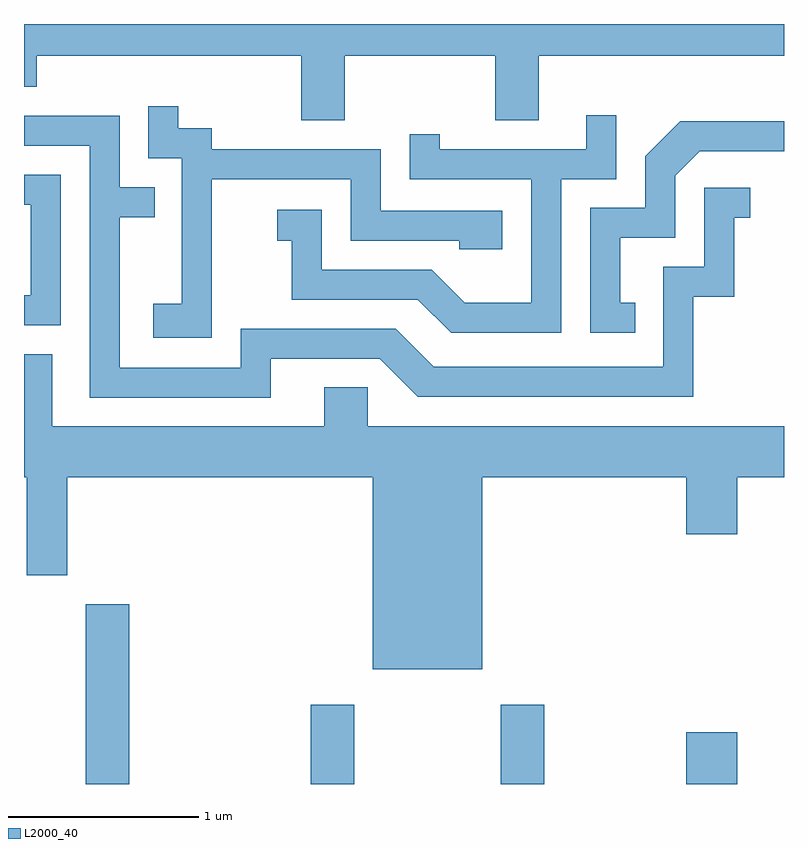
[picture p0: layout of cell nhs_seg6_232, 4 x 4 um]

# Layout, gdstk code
import gdstk
lib = gdstk.Library(unit=1e-6, precision=1e-09)
def R(c, l, rs):  # rectangles x0, y0, x1, y1
    for r in rs: c.add(gdstk.rectangle(r[:2], r[2:], *l))
def P(c, l, *ps):  # polygons
    for p in ps: c.add(gdstk.Polygon(p, *l))
L2000_40 = (2000, 40)

nhs_seg6_232 = lib.new_cell('nhs_seg6_232')
R(nhs_seg6_232, L2000_40, [(191.936,1586.162,192.164,1587.109), (193.121,1586.162,193.349,1586.579), (194.121,1586.162,194.349,1586.579), (195.096,1586.162,195.364,1586.434)])
P(nhs_seg6_232, L2000_40, [(193.299,1589.996),(194.091,1589.996),(194.091,1589.656),(194.319,1589.656),(194.319,1589.996),(195.611,1589.996),(195.611,1590.162),(191.611,1590.162),(191.611,1589.831),(191.679,1589.831),(191.679,1589.996),(193.071,1589.996),(193.071,1589.656),(193.299,1589.656)],
  [(192.599,1589.346),(193.331,1589.346),(193.331,1589.021),(193.901,1589.021),(193.901,1588.976),(194.129,1588.976),(194.129,1589.179),(193.489,1589.179),(193.489,1589.504),(192.599,1589.504),(192.599,1589.614),(192.424,1589.614),(192.424,1589.728),(192.266,1589.728),(192.266,1589.456),(192.441,1589.456),(192.441,1588.689),(192.291,1588.689),(192.291,1588.511),(192.599,1588.511)],
  [(194.439,1589.346),(194.729,1589.346),(194.729,1589.683),(194.571,1589.683),(194.571,1589.504),(193.799,1589.504),(193.799,1589.583),(193.641,1589.583),(193.641,1589.346),(194.281,1589.346),(194.281,1588.694),(193.932,1588.694),(193.757,1588.869),(193.179,1588.869),(193.179,1589.184),(192.943,1589.184),(192.943,1589.021),(193.021,1589.021),(193.021,1588.711),(193.684,1588.711),(193.859,1588.536),(194.439,1588.536)],
  [(192.909,1588.401),(193.484,1588.401),(193.684,1588.201),(195.134,1588.201),(195.134,1588.726),(195.349,1588.726),(195.349,1589.141),(195.433,1589.141),(195.433,1589.299),(195.191,1589.299),(195.191,1588.884),(194.976,1588.884),(194.976,1588.359),(193.767,1588.359),(193.567,1588.559),(192.751,1588.559),(192.751,1588.354),(192.114,1588.354),(192.114,1589.146),(192.298,1589.146),(192.298,1589.304),(192.114,1589.304),(192.114,1589.679),(191.611,1589.679),(191.611,1589.521),(191.956,1589.521),(191.956,1588.196),(192.909,1588.196)],
  [(194.828,1588.694),(194.749,1588.694),(194.749,1589.036),(195.039,1589.036),(195.039,1589.364),(195.167,1589.491),(195.611,1589.491),(195.611,1589.649),(195.064,1589.649),(194.881,1589.467),(194.881,1589.194),(194.591,1589.194),(194.591,1588.536),(194.828,1588.536)],
  [(191.804,1589.369),(191.611,1589.369),(191.611,1589.211),(191.646,1589.211),(191.646,1588.734),(191.611,1588.734),(191.611,1588.576),(191.804,1588.576)],
  [(194.024,1587.776),(195.096,1587.776),(195.096,1587.476),(195.364,1587.476),(195.364,1587.776),(195.611,1587.776),(195.611,1588.044),(193.419,1588.044),(193.419,1588.249),(193.191,1588.249),(193.191,1588.044),(191.759,1588.044),(191.759,1588.424),(191.611,1588.424),(191.611,1587.776),(191.626,1587.776),(191.626,1587.261),(191.839,1587.261),(191.839,1587.776),(193.446,1587.776),(193.446,1586.766),(194.024,1586.766)])

lib.write_gds('nhs_seg6_232.gds')
